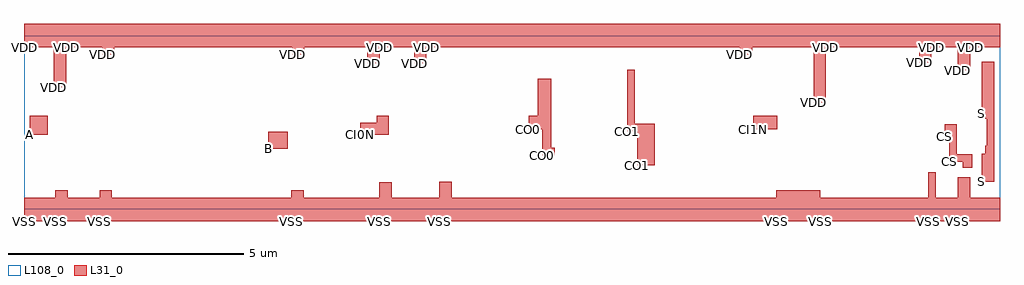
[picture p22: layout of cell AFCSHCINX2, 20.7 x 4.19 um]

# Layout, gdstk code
import gdstk
lib = gdstk.Library(unit=1e-6, precision=1e-09)
def R(c, l, rs):  # rectangles x0, y0, x1, y1
    for r in rs: c.add(gdstk.rectangle(r[:2], r[2:], *l))
L31_0 = (31, 0)
L108_0 = (108, 0)

afcshcinx2 = lib.new_cell('AFCSHCINX2')
R(afcshcinx2, L31_0, [(0,-0.25,0.665,0.25), (0.665,-0.25,0.925,0.405), (0.925,-0.25,1.605,0.25), (1.605,-0.25,1.865,0.405), (1.865,-0.25,5.67,0.25), (5.67,-0.25,5.93,0.405), (5.93,-0.25,7.535,0.25), (7.535,-0.25,7.795,0.575), (7.795,-0.25,8.81,0.25), (8.81,-0.25,9.07,0.59), (9.07,-0.25,15.95,0.25), (15.95,-0.25,16.89,0.405), (16.89,-0.25,19.175,0.25), (19.175,-0.25,19.335,0.785), (19.335,-0.25,19.805,0.25), (19.805,-0.25,20.065,0.685), (20.065,-0.25,20.7,0.25), (20.315,0.585,20.39,1.185), (20.39,0.585,20.415,1.355), (20.415,0.585,20.575,3.13), (19.905,0.88,20.115,1.17), (13.005,0.935,13.38,1.82), (19.625,1.01,19.785,1.805), (19.785,1.01,19.905,1.17), (10.995,1.15,11.185,2.77), (11.185,1.15,11.255,1.31), (5.185,1.29,5.595,1.645), (19.525,1.545,19.625,1.805), (0.125,1.585,0.5,1.99), (7.135,1.585,7.485,1.845), (7.485,1.585,7.735,1.99), (12.795,1.66,12.955,2.965), (12.955,1.66,13.005,1.82), (10.705,1.7,10.895,1.99), (10.895,1.7,10.995,2.77), (15.465,1.7,15.975,1.99), (20.39,1.925,20.415,3.13), (20.315,2.04,20.39,3.13), (16.745,2.26,17.005,3.94), (0.635,2.595,0.895,3.94), (19.805,2.955,20.065,3.94), (7.285,3.1,7.545,3.94), (8.275,3.1,8.535,3.94), (18.985,3.115,19.245,3.94), (1.655,3.285,1.915,3.94), (5.685,3.285,5.945,3.94), (15.185,3.285,15.445,3.94), (0,3.44,0.635,3.94), (0.895,3.44,1.655,3.94), (1.915,3.44,5.685,3.94), (5.945,3.44,7.285,3.94), (7.545,3.44,8.275,3.94), (8.535,3.44,15.185,3.94), (15.445,3.44,16.745,3.94), (17.005,3.44,18.985,3.94), (19.245,3.44,19.805,3.94), (20.065,3.44,20.7,3.94)])
R(afcshcinx2, L108_0, [(0,0,20.7,3.69)])
afcshcinx2.add(gdstk.Label('S', (20.315,2.04), layer=131, texttype=0))
afcshcinx2.add(gdstk.Label('S', (20.315,0.585), layer=131, texttype=0))
afcshcinx2.add(gdstk.Label('S', (20.39,1.925), layer=131, texttype=0))
afcshcinx2.add(gdstk.Label('S', (20.39,0.585), layer=131, texttype=0))
afcshcinx2.add(gdstk.Label('S', (20.415,0.585), layer=131, texttype=0))
afcshcinx2.add(gdstk.Label('CS', (19.525,1.545), layer=131, texttype=0))
afcshcinx2.add(gdstk.Label('CS', (19.625,1.01), layer=131, texttype=0))
afcshcinx2.add(gdstk.Label('CS', (19.785,1.01), layer=131, texttype=0))
afcshcinx2.add(gdstk.Label('CS', (19.905,0.88), layer=131, texttype=0))
afcshcinx2.add(gdstk.Label('CO1', (12.795,1.66), layer=131, texttype=0))
afcshcinx2.add(gdstk.Label('CO1', (12.955,1.66), layer=131, texttype=0))
afcshcinx2.add(gdstk.Label('CO1', (13.005,0.935), layer=131, texttype=0))
afcshcinx2.add(gdstk.Label('CO0', (10.705,1.7), layer=131, texttype=0))
afcshcinx2.add(gdstk.Label('CO0', (10.895,1.7), layer=131, texttype=0))
afcshcinx2.add(gdstk.Label('CO0', (10.995,1.15), layer=131, texttype=0))
afcshcinx2.add(gdstk.Label('CO0', (11.185,1.15), layer=131, texttype=0))
afcshcinx2.add(gdstk.Label('CI1N', (15.465,1.7), layer=131, texttype=0))
afcshcinx2.add(gdstk.Label('CI0N', (7.135,1.585), layer=131, texttype=0))
afcshcinx2.add(gdstk.Label('CI0N', (7.485,1.585), layer=131, texttype=0))
afcshcinx2.add(gdstk.Label('B', (5.185,1.29), layer=131, texttype=0))
afcshcinx2.add(gdstk.Label('A', (0.125,1.585), layer=131, texttype=0))
afcshcinx2.add(gdstk.Label('VSS', (0,-0.25), layer=131, texttype=0))
afcshcinx2.add(gdstk.Label('VSS', (0.665,-0.25), layer=131, texttype=0))
afcshcinx2.add(gdstk.Label('VSS', (0.925,-0.25), layer=131, texttype=0))
afcshcinx2.add(gdstk.Label('VSS', (1.605,-0.25), layer=131, texttype=0))
afcshcinx2.add(gdstk.Label('VSS', (1.865,-0.25), layer=131, texttype=0))
afcshcinx2.add(gdstk.Label('VSS', (5.67,-0.25), layer=131, texttype=0))
afcshcinx2.add(gdstk.Label('VSS', (5.93,-0.25), layer=131, texttype=0))
afcshcinx2.add(gdstk.Label('VSS', (7.535,-0.25), layer=131, texttype=0))
afcshcinx2.add(gdstk.Label('VSS', (7.795,-0.25), layer=131, texttype=0))
afcshcinx2.add(gdstk.Label('VSS', (8.81,-0.25), layer=131, texttype=0))
afcshcinx2.add(gdstk.Label('VSS', (9.07,-0.25), layer=131, texttype=0))
afcshcinx2.add(gdstk.Label('VSS', (15.95,-0.25), layer=131, texttype=0))
afcshcinx2.add(gdstk.Label('VSS', (16.89,-0.25), layer=131, texttype=0))
afcshcinx2.add(gdstk.Label('VSS', (19.175,-0.25), layer=131, texttype=0))
afcshcinx2.add(gdstk.Label('VSS', (19.335,-0.25), layer=131, texttype=0))
afcshcinx2.add(gdstk.Label('VSS', (19.805,-0.25), layer=131, texttype=0))
afcshcinx2.add(gdstk.Label('VSS', (20.065,-0.25), layer=131, texttype=0))
afcshcinx2.add(gdstk.Label('VDD', (0,3.44), layer=131, texttype=0))
afcshcinx2.add(gdstk.Label('VDD', (0.635,2.595), layer=131, texttype=0))
afcshcinx2.add(gdstk.Label('VDD', (0.895,3.44), layer=131, texttype=0))
afcshcinx2.add(gdstk.Label('VDD', (1.655,3.285), layer=131, texttype=0))
afcshcinx2.add(gdstk.Label('VDD', (1.915,3.44), layer=131, texttype=0))
afcshcinx2.add(gdstk.Label('VDD', (5.685,3.285), layer=131, texttype=0))
afcshcinx2.add(gdstk.Label('VDD', (5.945,3.44), layer=131, texttype=0))
afcshcinx2.add(gdstk.Label('VDD', (7.285,3.1), layer=131, texttype=0))
afcshcinx2.add(gdstk.Label('VDD', (7.545,3.44), layer=131, texttype=0))
afcshcinx2.add(gdstk.Label('VDD', (8.275,3.1), layer=131, texttype=0))
afcshcinx2.add(gdstk.Label('VDD', (8.535,3.44), layer=131, texttype=0))
afcshcinx2.add(gdstk.Label('VDD', (15.185,3.285), layer=131, texttype=0))
afcshcinx2.add(gdstk.Label('VDD', (15.445,3.44), layer=131, texttype=0))
afcshcinx2.add(gdstk.Label('VDD', (16.745,2.26), layer=131, texttype=0))
afcshcinx2.add(gdstk.Label('VDD', (17.005,3.44), layer=131, texttype=0))
afcshcinx2.add(gdstk.Label('VDD', (18.985,3.115), layer=131, texttype=0))
afcshcinx2.add(gdstk.Label('VDD', (19.245,3.44), layer=131, texttype=0))
afcshcinx2.add(gdstk.Label('VDD', (19.805,2.955), layer=131, texttype=0))
afcshcinx2.add(gdstk.Label('VDD', (20.065,3.44), layer=131, texttype=0))

lib.write_gds('AFCSHCINX2.gds')
